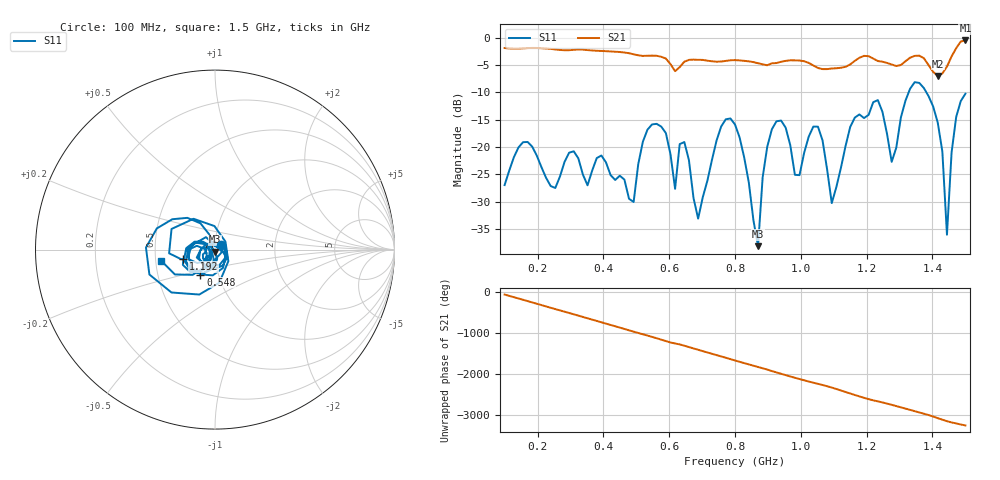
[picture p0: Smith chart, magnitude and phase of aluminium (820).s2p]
! NanoVNA-App
! Date: 2025-09-25 15:01:40
! Start: 100MHz Stop: 1,5GHz Points: 101
! S-Parameter data: F S11 S21 S12 S22
# Hz S RI R 50
!  Frequency  S11_Real  S11_Imag  S21_Real  S21_Imag  S12_Real  S12_Imag  S22_Real  S22_Imag
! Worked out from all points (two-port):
!   101 points, 100 MHz to 1.5 GHz, reference 50 ohm
!   highest |S21| = -0.53 dB at 1.5 GHz (marker M1); lowest = -7.0 dB at 1.416 GHz (marker M2)
!   |S21| within 3 dB of the highest: start of sweep to 576.8 MHz; 1.457 GHz to end of sweep (the widest 2 of 4)
!   lowest |S11| = -38.1 dB at 870 MHz (marker M3), VSWR 1.03, Z = 50.1 - j1.24 ohm
!   |S11| at or under -10 dB: start of sweep to 1.328 GHz; 1.381 GHz to end of sweep
!   S12 and S22 are empty: the file has one direction only
!   S11 on the Smith chart (normalised r, x): 100 MHz: 1.07, +0.06; 548 MHz: 0.82, -0.23; 1.192 GHz: 0.70, -0.08; 1.5 GHz: 0.53, -0.07
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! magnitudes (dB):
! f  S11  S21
! 100 MHz  -27.0  -1.9
! 156 MHz  -19.1  -2.0
! 338 MHz  -25.1  -2.2
! 492 MHz  -30.1  -3.1
! 548 MHz  -15.9  -3.3
! 576 MHz  -16.3  -3.5
! 618 MHz  -27.6  -6.1
! 646 MHz  -19.1  -4.4
! 688 MHz  -33.1  -4.1
! 800 MHz  -15.9  -4.1
! 870 MHz  -38.1  -4.7
! 912 MHz  -16.8  -4.7
! 996 MHz  -25.1  -4.2
! 1.038 GHz  -16.3  -5.1
! 1.094 GHz  -30.3  -5.7
! 1.192 GHz  -14.7  -3.4
! 1.276 GHz  -22.7  -4.9
! 1.346 GHz  -8.2  -3.4
! 1.416 GHz  -15.5  -7.0
! 1.444 GHz  -36.0  -5.3
! 1.472 GHz  -14.5  -1.9
! 1.5 GHz  -10.3  -0.5
